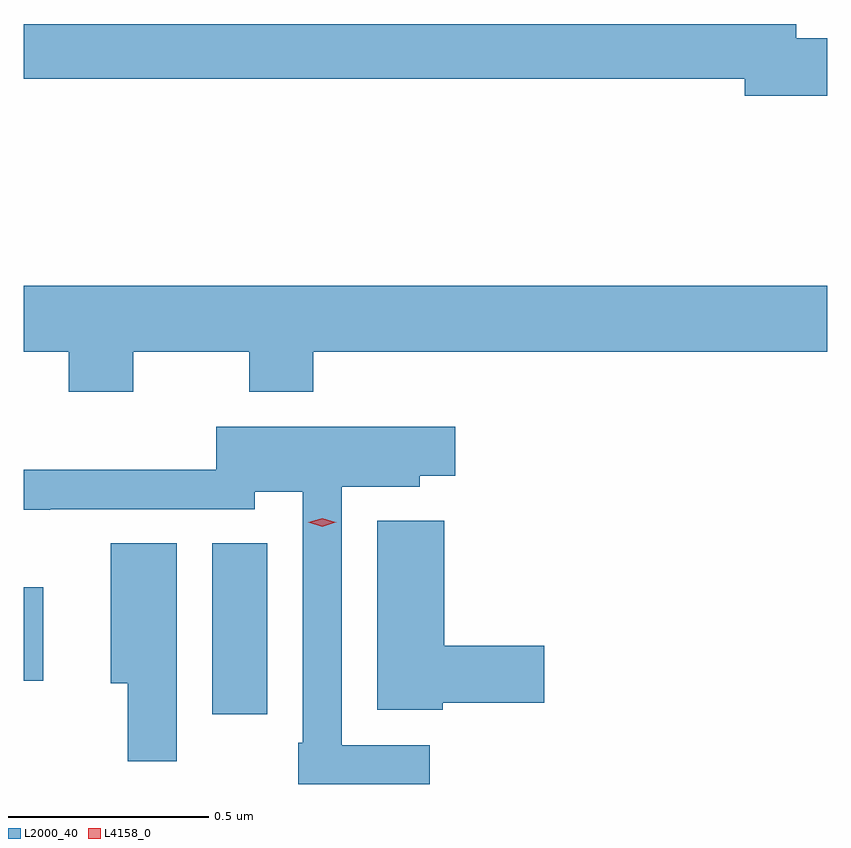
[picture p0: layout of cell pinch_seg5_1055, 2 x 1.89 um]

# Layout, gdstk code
import gdstk
lib = gdstk.Library(unit=1e-6, precision=1e-09)
def R(c, l, rs):  # rectangles x0, y0, x1, y1
    for r in rs: c.add(gdstk.rectangle(r[:2], r[2:], *l))
def P(c, l, *ps):  # polygons
    for p in ps: c.add(gdstk.Polygon(p, *l))
L2000_40 = (2000, 40)
L4158_0 = (4158, 0)

pinch_seg5_1055 = lib.new_cell('pinch_seg5_1055')
R(pinch_seg5_1055, L2000_40, [(746.99,863.85,747.127,864.275), (746.521,863.933,746.569,864.166)])
P(pinch_seg5_1055, L2000_40, [(748.521,865.532),(748.444,865.532),(748.444,865.568),(746.521,865.568),(746.521,865.432),(748.316,865.432),(748.316,865.39),(748.521,865.39)],
  [(746.793,864.752),(747.082,864.752),(747.082,864.653),(747.242,864.653),(747.242,864.752),(748.521,864.752),(748.521,864.916),(746.521,864.916),(746.521,864.752),(746.633,864.752),(746.633,864.653),(746.793,864.653)],
  [(747.532,863.772),(747.312,863.772),(747.312,864.416),(747.507,864.416),(747.507,864.443),(747.595,864.443),(747.595,864.565),(747,864.565),(747,864.458),(746.521,864.458),(746.521,864.359),(746.587,864.359),(746.587,864.36),(747.096,864.36),(747.096,864.404),(747.216,864.404),(747.216,863.779),(747.204,863.779),(747.204,863.676),(747.532,863.676)],
  [(747.564,863.878),(747.817,863.878),(747.817,864.02),(747.568,864.02),(747.568,864.331),(747.401,864.331),(747.401,863.861),(747.564,863.861)],
  [(746.902,864.275),(746.738,864.275),(746.738,863.927),(746.78,863.927),(746.78,863.733),(746.902,863.733)])
P(pinch_seg5_1055, L4158_0, [(747.264,864.317),(747.229,864.327),(747.229,864.327),(747.229,864.327),(747.264,864.337),(747.298,864.327),(747.299,864.327),(747.298,864.327)])

lib.write_gds('pinch_seg5_1055.gds')
